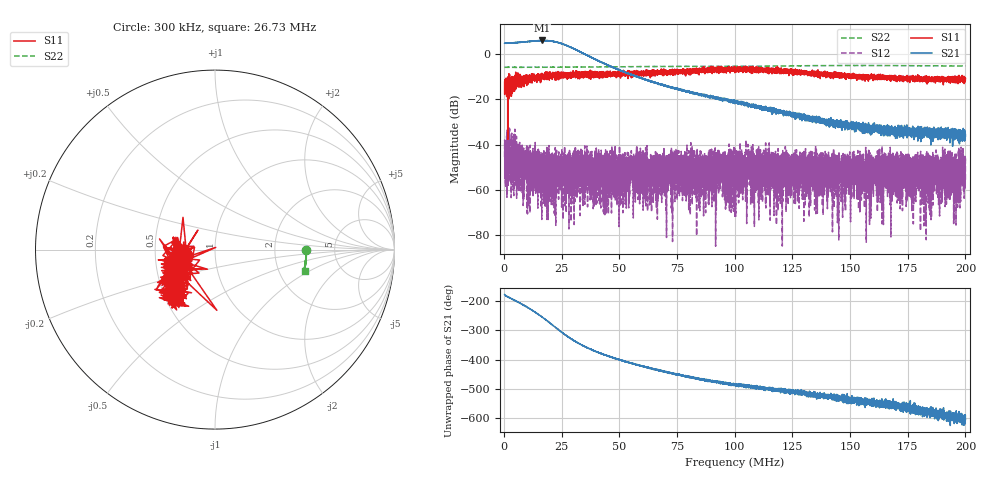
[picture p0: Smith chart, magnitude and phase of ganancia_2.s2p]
# Hz S DB R 50
! CMT, M5065, 19127446, 24.2.4/2
! Date: 11/8/2024 4:49:20 PM
! Data: Format (Calibration Info)
! Freq	S11:dB/Ang(F2)	S21:dB/Ang(F2)	S12:dB/Ang(F2)	S22:dB/Ang(F2)
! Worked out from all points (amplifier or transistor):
!   9000 points, 300 kHz to 200 MHz, reference 50 ohm
!   highest |S21| = 6.0 dB at 16.52 MHz (marker M1)
!   |S21| within 3 dB of that: start of sweep to 28.92 MHz (the widest 1 of 4)
!   unconditionally stable (mu >= 1): start of sweep to end of sweep
!   at 33.59 MHz: K = 47.24, MAG = 2.5 dB, |S12| = -43.9 dB
!   at 100.2 MHz: K = 1265.59, MAG = -18.7 dB, |S12| = -51.7 dB
!   at 200 MHz: K = 13598.54, MAG = -34.4 dB, |S12| = -56.1 dB
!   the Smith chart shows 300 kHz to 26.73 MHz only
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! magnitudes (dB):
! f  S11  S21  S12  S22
! 300 kHz  -12.5  4.7  -45.5  -5.9
! 8.023 MHz  -13.6  5.2  -51.2  -5.9
! 16.52 MHz  -9.3  6.0  -43.8  -5.9
! 18.81 MHz  -10.0  5.8  -53.9  -5.8
! 33.59 MHz  -9.2  0.6  -43.9  -5.8
! 66.87 MHz  -8.3  -13.2  -49.4  -5.5
! 74.11 MHz  -7.4  -15.2  -65.1  -5.5
! 83.92 MHz  -8.1  -17.5  -60.8  -5.5
! 94.95 MHz  -6.6  -20.3  -53.0  -5.4
! 100.2 MHz  -7.5  -21.0  -51.7  -5.4
! 104.4 MHz  -6.8  -22.9  -49.6  -5.4
! 106.8 MHz  -6.7  -22.7  -46.2  -5.4
! 108.9 MHz  -7.6  -22.8  -56.6  -5.4
! 116 MHz  -7.5  -23.6  -51.9  -5.3
! 119.7 MHz  -7.8  -25.7  -48.5  -5.3
! 133.4 MHz  -8.5  -28.6  -48.2  -5.2
! 166.7 MHz  -10.2  -34.2  -48.8  -5.1
! 176.7 MHz  -11.1  -35.1  -56.6  -5.2
! 178.7 MHz  -10.6  -32.8  -47.9  -5.2
! 182.9 MHz  -11.8  -33.6  -57.1  -5.2
! 198.3 MHz  -10.3  -34.9  -44.5  -5.3
! 200 MHz  -11.4  -36.3  -56.1  -5.3
